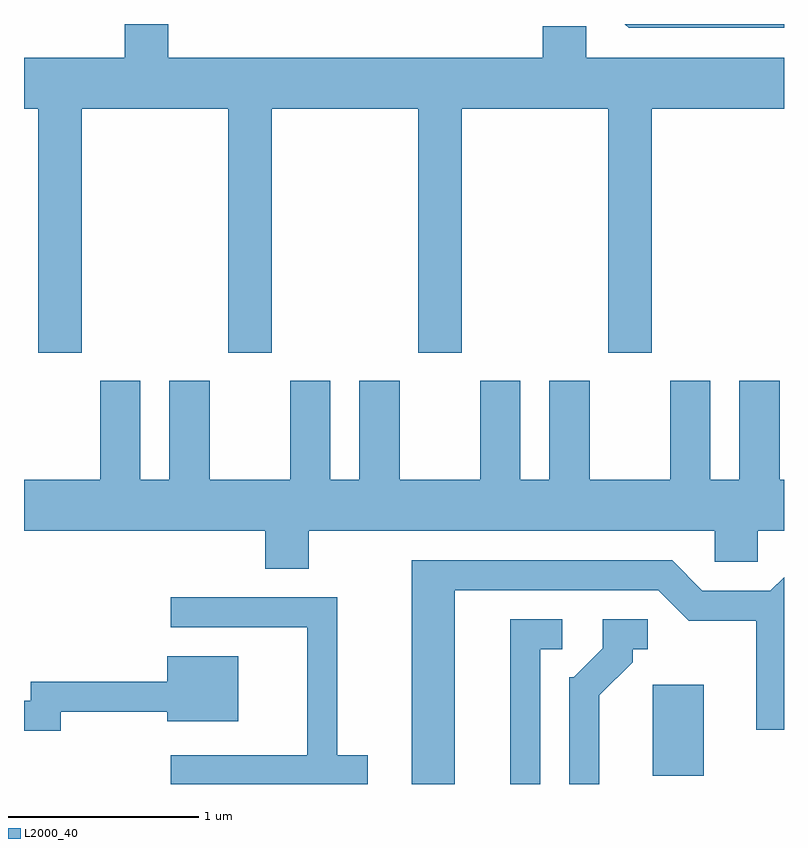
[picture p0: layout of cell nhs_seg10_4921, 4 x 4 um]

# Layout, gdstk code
import gdstk
lib = gdstk.Library(unit=1e-6, precision=1e-09)
def R(c, l, rs):  # rectangles x0, y0, x1, y1
    for r in rs: c.add(gdstk.rectangle(r[:2], r[2:], *l))
def P(c, l, *ps):  # polygons
    for p in ps: c.add(gdstk.Polygon(p, *l))
L2000_40 = (2000, 40)

nhs_seg10_4921 = lib.new_cell('nhs_seg10_4921')
R(nhs_seg10_4921, L2000_40, [(332.921,2172.566,333.189,2173.044)])
P(nhs_seg10_4921, L2000_40, [(329.914,2176.076),(330.686,2176.076),(330.686,2174.791),(330.914,2174.791),(330.914,2176.076),(331.686,2176.076),(331.686,2174.791),(331.914,2174.791),(331.914,2176.076),(332.686,2176.076),(332.686,2174.791),(332.914,2174.791),(332.914,2176.076),(333.611,2176.076),(333.611,2176.344),(332.569,2176.344),(332.569,2176.509),(332.341,2176.509),(332.341,2176.344),(330.369,2176.344),(330.369,2176.522),(330.141,2176.522),(330.141,2176.344),(329.611,2176.344),(329.611,2176.076),(329.686,2176.076),(329.686,2174.791),(329.914,2174.791)],
  [(333.611,2176.522),(332.773,2176.522),(332.794,2176.501),(333.611,2176.501)],
  [(331.109,2173.856),(333.246,2173.856),(333.246,2173.691),(333.474,2173.691),(333.474,2173.856),(333.611,2173.856),(333.611,2174.124),(333.589,2174.124),(333.589,2174.644),(333.376,2174.644),(333.376,2174.124),(333.224,2174.124),(333.224,2174.644),(333.011,2174.644),(333.011,2174.124),(332.589,2174.124),(332.589,2174.644),(332.376,2174.644),(332.376,2174.124),(332.224,2174.124),(332.224,2174.644),(332.011,2174.644),(332.011,2174.124),(331.589,2174.124),(331.589,2174.644),(331.376,2174.644),(331.376,2174.124),(331.224,2174.124),(331.224,2174.644),(331.011,2174.644),(331.011,2174.124),(330.589,2174.124),(330.589,2174.644),(330.376,2174.644),(330.376,2174.124),(330.224,2174.124),(330.224,2174.644),(330.011,2174.644),(330.011,2174.124),(329.611,2174.124),(329.611,2173.856),(330.881,2173.856),(330.881,2173.656),(331.109,2173.656)],
  [(331.879,2173.541),(332.949,2173.541),(333.109,2173.381),(333.466,2173.381),(333.466,2172.808),(333.611,2172.808),(333.611,2173.611),(333.539,2173.539),(333.182,2173.539),(333.022,2173.699),(331.651,2173.699),(331.651,2172.522),(331.879,2172.522)],
  [(331.419,2172.674),(331.259,2172.674),(331.259,2173.504),(330.383,2173.504),(330.383,2173.346),(331.101,2173.346),(331.101,2172.674),(330.383,2172.674),(330.383,2172.522),(331.419,2172.522)],
  [(332.329,2173.231),(332.443,2173.231),(332.443,2173.389),(332.171,2173.389),(332.171,2172.522),(332.329,2172.522)],
  [(332.639,2172.989),(332.814,2173.164),(332.814,2173.231),(332.893,2173.231),(332.893,2173.389),(332.656,2173.389),(332.656,2173.237),(332.504,2173.084),(332.481,2173.084),(332.481,2172.522),(332.639,2172.522)],
  [(329.804,2172.901),(330.366,2172.901),(330.366,2172.851),(330.739,2172.851),(330.739,2173.194),(330.366,2173.194),(330.366,2173.059),(329.646,2173.059),(329.646,2172.959),(329.611,2172.959),(329.611,2172.801),(329.804,2172.801)])

lib.write_gds('nhs_seg10_4921.gds')
